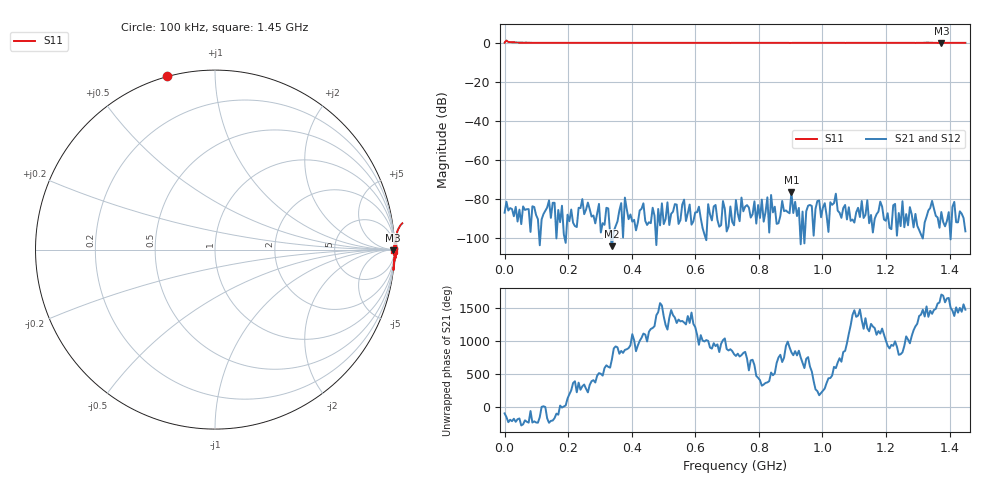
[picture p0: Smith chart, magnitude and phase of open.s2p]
! Created with skrf 1.11.0 (http://scikit-rf.org).
# Hz S RI R 50.0
!freq ReS11 ImS11 ReS21 ImS21 ReS12 ImS12 ReS22 ImS22
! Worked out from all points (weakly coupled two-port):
!   250 points, 100 kHz to 1.45 GHz, reference 50 ohm
!   highest |S21| = -76.76 dB at 902.6 MHz (marker M1); lowest = -104.4 dB at 337.8 MHz (marker M2)
!   lowest |S11| = -0.1 dB at 1.374 GHz (marker M3), VSWR 282.18, Z = 1.09e+04 - j5.89e+03 ohm
!   |S11| at or under -10 dB: nowhere
!   |S22| runs from - to - dB; largest |S21 - S12| = 0
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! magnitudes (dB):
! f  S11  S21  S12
! 100 kHz  0.1  -87.2  -87.2
! 5.923 MHz  1.2  -81.6  -81.6
! 11.75 MHz  0.5  -86.1  -86.1
! 46.68 MHz  0.1  -85.7  -85.7
! 244.7 MHz  0.0  -80.3  -80.3
! 337.8 MHz  0.0  -104.4  -104.4
! 483.4 MHz  0.0  -85.3  -85.3
! 728 MHz  0.0  -80.8  -80.8
! 827 MHz  0.0  -79.4  -79.4
! 832.8 MHz  0.0  -97.4  -97.4
! 838.6 MHz  0.0  -78.2  -78.2
! 844.4 MHz  0.0  -87.1  -87.1
! 896.8 MHz  0.0  -87.5  -87.5
! 902.6 MHz  0.0  -76.8  -76.8
! 908.5 MHz  0.0  -87.4  -87.4
! 966.7 MHz  0.0  -83.8  -83.8
! 1.037 GHz  0.0  -82.3  -82.3
! 1.042 GHz  0.0  -77.5  -77.5
! 1.048 GHz  0.0  -86.2  -86.2
! 1.211 GHz  0.0  -95.0  -95.0
! 1.374 GHz  -0.1  -86.9  -86.9
! 1.45 GHz  0.0  -96.8  -96.8
